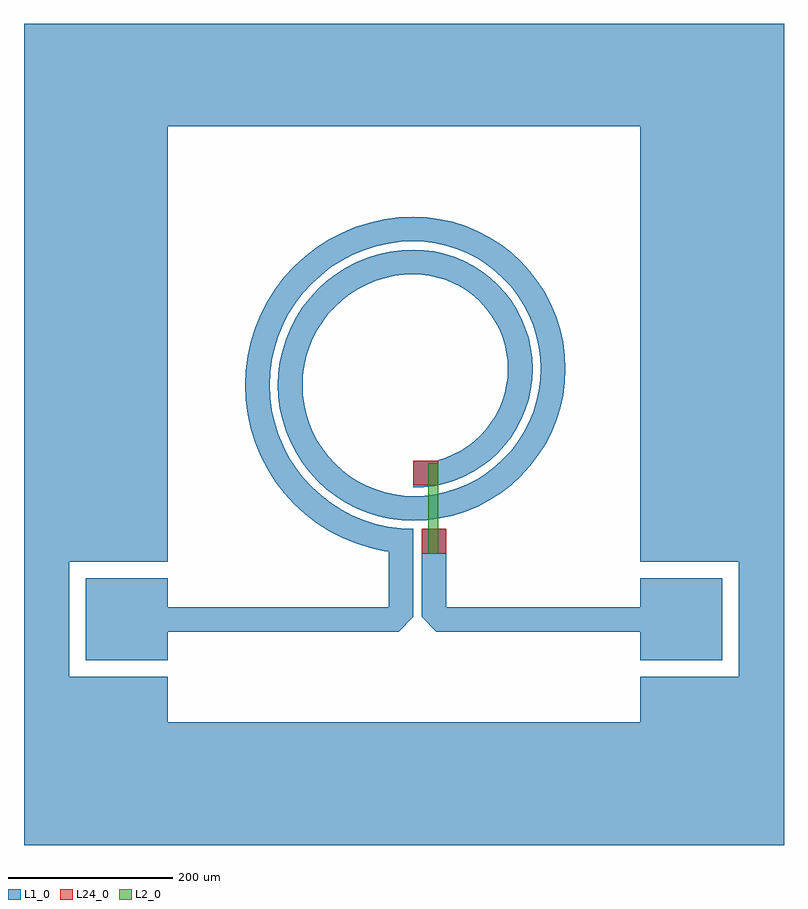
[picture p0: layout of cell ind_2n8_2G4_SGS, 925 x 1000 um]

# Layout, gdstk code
import gdstk
lib = gdstk.Library(unit=1e-6, precision=1e-10)
def R(c, l, rs):  # rectangles x0, y0, x1, y1
    for r in rs: c.add(gdstk.rectangle(r[:2], r[2:], *l))
def P(c, l, *ps):  # polygons
    for p in ps: c.add(gdstk.Polygon(p, *l))
L1_0 = (1, 0)
L2_0 = (2, 0)
L24_0 = (24, 0)

ind_2n8_2g4_sgs = lib.new_cell('ind_2n8_2G4_SGS')
R(ind_2n8_2g4_sgs, L1_0, [(-545,-350,320,-200), (-500,-125,-400,-25), (175,-125,275,-25), (-131,-15,-101,35), (-91,-15,-61,35), (-101,88,-71,118), (-425,525,200,650)])
P(ind_2n8_2g4_sgs, L1_0, [(-101,35),(-101,5),(-118.8669,5.7801),(-136.5979,8.1144),(-154.0579,11.9852),(-171.1141,17.363),(-187.6367,24.2069),(-203.5,32.4648),(-218.5832,42.0738),(-232.7715,52.9609),(-245.9569,65.0431),(-258.0391,78.2285),(-268.9262,92.4168),(-278.5352,107.5),(-286.7931,123.3633),(-293.637,139.8859),(-299.0148,156.9421),(-302.8856,174.4021),(-305.2199,192.1331),(-306,210),(-305.2199,227.8669),(-302.8856,245.5979),(-299.0148,263.0579),(-293.637,280.1141),(-286.7931,296.6367),(-278.5352,312.5),(-268.9262,327.5832),(-258.0391,341.7715),(-245.9569,354.9569),(-232.7715,367.0391),(-218.5832,377.9262),(-203.5,387.5352),(-187.6367,395.7931),(-171.1141,402.637),(-154.0579,408.0148),(-136.5979,411.8856),(-118.8669,414.2199),(-101,415),(-101,385),(-116.2523,384.3341),(-131.3884,382.3414),(-146.2933,379.037),(-160.8535,374.4462),(-174.9582,368.6039),(-188.5,361.5544),(-201.3759,353.3516),(-213.4878,344.0578),(-224.7437,333.7437),(-235.0578,322.4878),(-244.3516,310.3759),(-252.5544,297.5),(-259.6039,283.9582),(-265.4462,269.8535),(-270.037,255.2933),(-273.3414,240.3884),(-275.3341,225.2523),(-276,210),(-275.3341,194.7477),(-273.3414,179.6116),(-270.037,164.7067),(-265.4462,150.1465),(-259.6039,136.0418),(-252.5544,122.5),(-244.3516,109.6241),(-235.0578,97.5122),(-224.7437,86.2563),(-213.4878,75.9422),(-201.3759,66.6484),(-188.5,58.4456),(-174.9582,51.3961),(-160.8535,45.5538),(-146.2933,40.963),(-131.3884,37.6586),(-116.2523,35.6659)],
  [(-101,75),(-101,45),(-84.8762,45.704),(-68.8751,47.8106),(-53.1185,51.3037),(-37.7263,56.1569),(-22.8156,62.3331),(-8.5,69.7853),(5.1116,78.4569),(17.9157,88.2818),(29.8148,99.1852),(40.7182,111.0843),(50.5431,123.8884),(59.2147,137.5),(66.6669,151.8156),(72.8431,166.7263),(77.6963,182.1185),(81.1894,197.8751),(83.296,213.8762),(84,230),(83.296,246.1238),(81.1894,262.1249),(77.6963,277.8815),(72.8431,293.2737),(66.6669,308.1844),(59.2147,322.5),(50.5431,336.1116),(40.7182,348.9157),(29.8148,360.8148),(17.9157,371.7182),(5.1116,381.5431),(-8.5,390.2147),(-22.8156,397.6669),(-37.7263,403.8431),(-53.1185,408.6963),(-68.8751,412.1894),(-84.8762,414.296),(-101,415),(-101,385),(-87.4909,384.4102),(-74.0845,382.6452),(-60.883,379.7185),(-47.9869,375.6524),(-35.4942,370.4777),(-23.5,364.2339),(-12.0957,356.9686),(-1.3679,348.7369),(8.6016,339.6016),(17.7369,329.6321),(25.9686,318.9043),(33.2339,307.5),(39.4777,295.5058),(44.6524,283.0131),(48.7185,270.117),(51.6452,256.9155),(53.4102,243.5091),(54,230),(53.4102,216.4909),(51.6452,203.0845),(48.7185,189.883),(44.6524,176.9869),(39.4777,164.4942),(33.2339,152.5),(25.9686,141.0957),(17.7369,130.3679),(8.6016,120.3984),(-1.3679,111.2631),(-12.0957,103.0314),(-23.5,95.7661),(-35.4942,89.5223),(-47.9869,84.3476),(-60.883,80.2815),(-74.0845,77.3548),(-87.4909,75.5898)],
  [(-101,75),(-101,45),(-115.3807,45.6279),(-129.6519,47.5067),(-143.7051,50.6222),(-157.4333,54.9507),(-170.732,60.4592),(-183.5,67.1058),(-195.6401,74.8399),(-207.06,83.6027),(-217.6726,93.3274),(-227.3973,103.94),(-236.1601,115.3599),(-243.8942,127.5),(-250.5408,140.268),(-256.0493,153.5667),(-260.3778,167.2949),(-263.4933,181.3481),(-265.3721,195.6193),(-266,210),(-265.3721,224.3807),(-263.4933,238.6519),(-260.3778,252.7051),(-256.0493,266.4333),(-250.5408,279.732),(-243.8942,292.5),(-236.1601,304.6401),(-227.3973,316.06),(-217.6726,326.6726),(-207.06,336.3973),(-195.6401,345.1601),(-183.5,352.8942),(-170.732,359.5408),(-157.4333,365.0493),(-143.7051,369.3778),(-129.6519,372.4933),(-115.3807,374.3721),(-101,375),(-101,345),(-112.766,344.4863),(-124.4425,342.949),(-135.9406,340.4),(-147.1727,336.8585),(-158.0535,332.3516),(-168.5,326.9134),(-178.4328,320.5855),(-187.7763,313.416),(-196.4594,305.4594),(-204.416,296.7763),(-211.5855,287.4328),(-217.9134,277.5),(-223.3516,267.0535),(-227.8585,256.1727),(-231.4,244.9406),(-233.949,233.4425),(-235.4863,221.766),(-236,210),(-235.4863,198.234),(-233.949,186.5575),(-231.4,175.0594),(-227.8585,163.8273),(-223.3516,152.9465),(-217.9134,142.5),(-211.5855,132.5672),(-204.416,123.2237),(-196.4594,114.5406),(-187.7763,106.584),(-178.4328,99.4145),(-168.5,93.0866),(-158.0535,87.6484),(-147.1727,83.1415),(-135.9406,79.6),(-124.4425,77.051),(-112.766,75.5137)],
  [(-101,115),(-101,85),(-88.3624,85.5518),(-75.821,87.2029),(-63.4712,89.9408),(-51.4071,93.7446),(-39.7204,98.5854),(-28.5,104.4263),(-17.8314,111.223),(-7.7958,118.9236),(1.5305,127.4695),(10.0764,136.7958),(17.777,146.8314),(24.5737,157.5),(30.4146,168.7204),(35.2554,180.4071),(39.0592,192.4712),(41.7971,204.821),(43.4482,217.3624),(44,230),(43.4482,242.6376),(41.7971,255.179),(39.0592,267.5288),(35.2554,279.5929),(30.4146,291.2796),(24.5737,302.5),(17.777,313.1686),(10.0764,323.2042),(1.5305,332.5305),(-7.7958,341.0764),(-17.8314,348.777),(-28.5,355.5737),(-39.7204,361.4146),(-51.4071,366.2554),(-63.4712,370.0592),(-75.821,372.7971),(-88.3624,374.4482),(-101,375),(-101,345),(-90.9771,344.5624),(-81.0305,343.2529),(-71.2358,341.0815),(-61.6677,338.0647),(-52.3989,334.2254),(-43.5,329.5929),(-35.0387,324.2025),(-27.0794,318.0951),(-19.6827,311.3173),(-12.9049,303.9206),(-6.7975,295.9613),(-1.4071,287.5),(3.2254,278.6011),(7.0647,269.3323),(10.0815,259.7642),(12.2529,249.9695),(13.5624,240.0229),(14,230),(13.5624,219.9771),(12.2529,210.0305),(10.0815,200.2358),(7.0647,190.6677),(3.2254,181.3989),(-1.4071,172.5),(-6.7975,164.0387),(-12.9049,156.0794),(-19.6827,148.6827),(-27.0794,141.9049),(-35.0387,135.7975),(-43.5,130.4071),(-52.3989,125.7746),(-61.6677,121.9353),(-71.2358,118.9185),(-81.0305,116.7471),(-90.9771,115.4376)],
  [(-400,650),(-400,-5),(-520,-5),(-520,-145),(-400,-145),(-400,-350),(-575,-350),(-575,650)],
  [(175,650),(175,-5),(295,-5),(295,-145),(175,-145),(175,-350),(350,-350),(350,650)],
  [(190,-60),(-61,-60),(-61,-15),(-91,-15),(-91,-72),(-73,-90),(190,-90)],
  [(-410,-90),(-119,-90),(-101,-72),(-101,-15),(-131,-15),(-131,-60),(-410,-60)])
R(ind_2n8_2g4_sgs, L2_0, [(-83,5,-71,115)])
R(ind_2n8_2g4_sgs, L24_0, [(-91,5,-61,35), (-101,88,-71,118)])

lib.write_gds('ind_2n8_2G4_SGS.gds')
